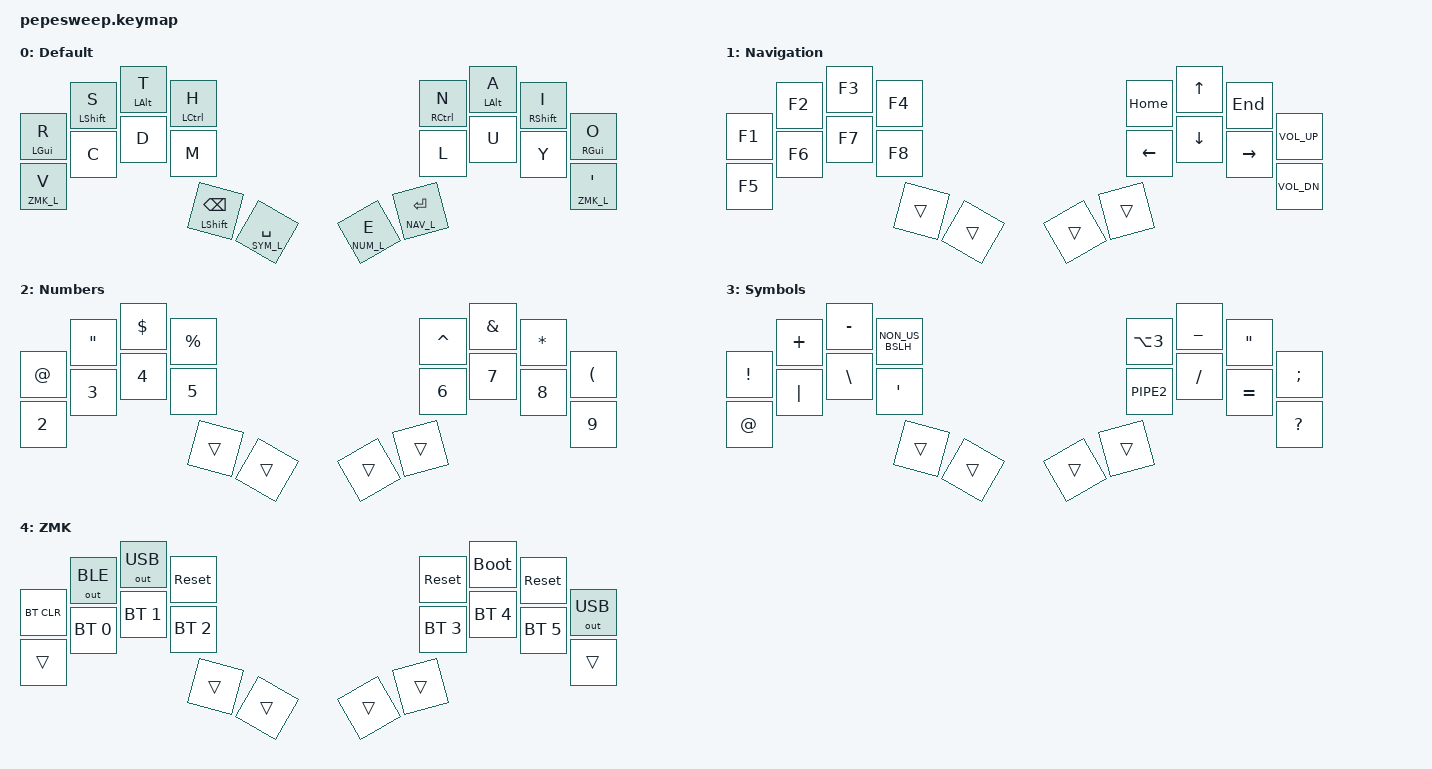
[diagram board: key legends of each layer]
#include <behaviors.dtsi>
#include <dt-bindings/zmk/bt.h>
#include <dt-bindings/zmk/keys.h>
#include <dt-bindings/zmk/outputs.h>

#define DEFAULT 0
#define NAV_L 1
#define NUM_L 2
#define SYM_L 3
#define ZMK_L 4

// Using layer taps on thumbs, having quick tap as well helps w/ repeating space/backspace

&lt { quick_tap_ms = <200>; };

/// Combo's function to flatten the below structure.
/// https://github.com/caksoylar/zmk-config/blob/main/config/includes/combos.dtsi
#define COMBO(NAME, BINDINGS, KEYPOS, LAYERS, TERM, QUICKTAP, ...) \
    combo_##NAME { \
        timeout-ms = <TERM>; \
        bindings = <BINDINGS>; \
        key-positions = <KEYPOS>; \
        layers = <LAYERS>; \
        require-prior-idle-ms = <QUICKTAP>; \
        __VA_ARGS__ \
    };

/ {
    combos {
        compatible = "zmk,combos";
        // COMBO(NAME,              BINDINGS,          KEYPOS, LAYERS, TERM, QUICKTAP)
		// Default Layer
        COMBO(esc,                  &kp ESC,           0 3,    0,      50,  0)
        COMBO(del,                  &kp DEL,           8 11,   0,      50,  0)
        COMBO(tab,                  &kp TAB,           9 11,   0,      50,  0)
        COMBO(underscore,           &kp UNDER,         12 14,  0,      50,  0)
        COMBO(left_curly_bracket,   &kp LBRC,          1 9,    0,      50,  0)
        COMBO(left_parenthesis,     &kp LPAR,          3 11,   0,      50,  0)
        COMBO(left_square_bracket,  &kp LBKT,          2 10,   0,      50,  0)
        COMBO(right_curly_bracket,  &kp RBRC,          6 14,   0,      50,  0)
        COMBO(right_parenthesis,    &kp RPAR,          4 12,   0,      50,  0)
        COMBO(right_square_bracket, &kp RBKT,          5 13,   0,      50,  0)
        COMBO(left_angle_brackent,  &kp LESS_THAN,     0 8,    0,      50,  0)
        COMBO(right_angle_brackent, &kp GREATER_THAN,  7 15,   0,      50,  0)
        COMBO(w,                    &kp W,             0 1,    0,      50,  0)
        COMBO(p,                    &kp P,             1 2,    0,      50,  0)
        COMBO(b,                    &kp B,             2 3,    0,      50,  0)
        COMBO(f,                    &kp F,             3 4,    0,      50,  0)
        COMBO(q,                    &kp Q,             4 5,    0,      50,  0)
        COMBO(comma,                &kp COMMA,         5 6,    0,      50,  0)
        COMBO(dot,                  &kp DOT,           6 7,    0,      50,  0)
        COMBO(g,                    &kp G,             9 10,   0,      50,  0)
        COMBO(k,                    &kp K,             10 11,  0,      50,  0)
        COMBO(j,                    &kp J,             11 12,  0,      50,  0)
        COMBO(x,                    &kp X,             12 13,  0,      50,  0)
        COMBO(z,                    &kp Z,             13 14,  0,      50,  0)
        COMBO(caps_word,            &caps_word,        2 5,    0,      50,  0)
        COMBO(sticky_ctrl,          &sk LCTRL,         4 7,    0,      50,  0)
        COMBO(colon,                &kp COLON,         14 15,  0,      50,  0)

        // Num Layer
        COMBO(exclamation_mark,         &kp EXCL,      0 3,    2,      50,  0)
        COMBO(right_parathesis_num_lay, &kp RPAR,      4 7,    2,      50,  0)
        COMBO(1,                        &kp N1,        8 11,   2,      50,  0)
        COMBO(0,                        &kp N0,        12 15,  2,      50,  0)
    };
};

// Stay capitalised on underscore/minus in a word.
&caps_word {
    continue-list = <UNDERSCORE MINUS>;
};

/ {
    behaviors {
        hm: homerow_mods {
            compatible = "zmk,behavior-hold-tap";
            label = "homerow mods";
            #binding-cells = <2>;
            tapping_term_ms = <200>;
            flavor = "tap-preferred";
            bindings = <&kp>, <&kp>;
        };
    };

    keymap {
        compatible = "zmk,keymap";

        default_layer {
            display-name = "Default";
            bindings = <
  &hm LGUI R  &hm LSHFT S  &hm LALT T  &hm LCTRL H       &hm RCTRL N  &hm LALT A  &hm RSHFT I  &hm RGUI O
  &lt ZMK_L V &kp C        &kp D       &kp M             &kp L        &kp U       &kp Y        &lt ZMK_L SQT
                   &mt LSHFT BSPC  &lt SYM_L SPACE       &lt NUM_L E  &lt NAV_L RET
            >;
        };

        nav_layer {
            display-name = "Navigation";
            bindings = <
  &kp F1  &kp F2  &kp F3  &kp F4        &kp HOME  &kp UP    &kp END    &kp C_VOL_UP
  &kp F5  &kp F6  &kp F7  &kp F8        &kp LEFT  &kp DOWN  &kp RIGHT  &kp C_VOL_DN
                  &trans  &trans        &trans    &trans
            >;
        };

        num_layer {
            display-name = "Numbers";
            bindings = <
  &kp AT  &kp DQT  &kp DLLR  &kp PRCNT      &kp CARET  &kp AMPS  &kp STAR  &kp LPAR
  &kp N2  &kp N3   &kp N4    &kp N5         &kp N6     &kp N7    &kp N8    &kp N9
                   &trans    &trans         &trans     &trans
            >;
        };

        sym_layer {
            display-name = "Symbols";
            bindings = <
  &kp EXCL  &kp PLUS  &kp MINUS  &kp NON_US_BSLH     &kp LA(N3)  &kp UNDER  &kp DQT    &kp SEMI
  &kp AT    &kp PIPE  &kp BSLH   &kp SQT             &kp PIPE2   &kp FSLH   &kp EQUAL  &kp QMARK
                      &trans     &trans              &trans      &trans
            >;
        };

        zmk_layer {
            // https://zmk.dev/docs/behaviors/bluetooth
            // https://zmk.dev/docs/behaviors/outputs
            // https://zmk.dev/docs/behaviors/reset

            display-name = "ZMK";
            bindings = <
  &bt BT_CLR  &out OUT_BLE  &out OUT_USB  &sys_reset        &sys_reset    &bootloader   &sys_reset    &out OUT_USB
  &trans      &bt BT_SEL 0  &bt BT_SEL 1  &bt BT_SEL 2      &bt BT_SEL 3  &bt BT_SEL 4  &bt BT_SEL 5  &trans
                            &trans        &trans            &trans        &trans
            >;
        };
    };
};
